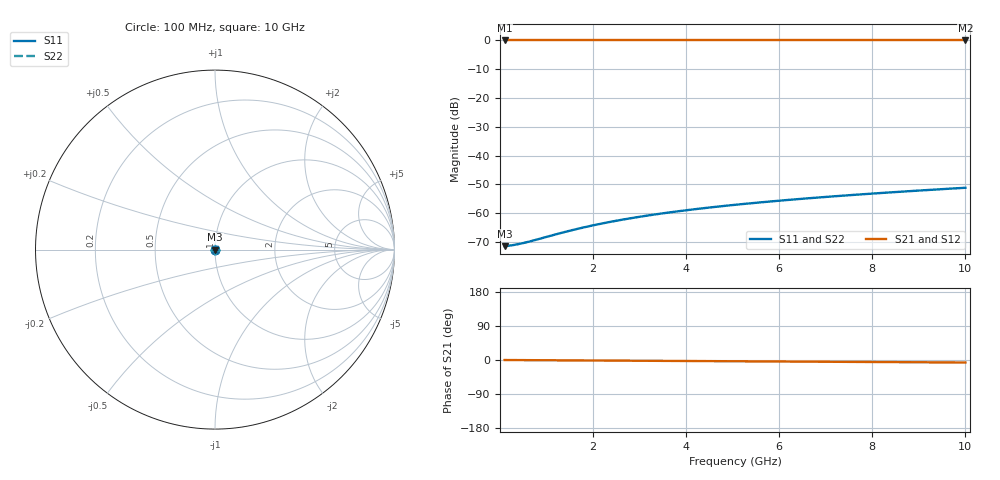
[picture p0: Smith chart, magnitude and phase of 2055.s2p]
# Hz S RI R 50.00
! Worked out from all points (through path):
!   100 points, 100 MHz to 10 GHz, reference 50 ohm
!   highest |S21| = 0.00 dB at 100 MHz (marker M1); lowest = 0.0 dB at 10 GHz (marker M2)
!   lowest |S11| = -71.5 dB at 100 MHz (marker M3), VSWR 1.00, Z = 50 + j0.00275 ohm
!   |S11| at or under -10 dB: start of sweep to end of sweep
!   |S22| runs from -71.5 to -51.2 dB; largest |S21 - S12| = 0
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1e8  0.000265 2.75e-05  0.9997 -0.00115  0.9997 -0.00115  0.000265 2.75e-05
2e8  0.000266 5.5e-05  0.9997 -0.00229  0.9997 -0.00229  0.000266 5.5e-05
3e8  0.000267 8.24e-05  0.9997 -0.00344  0.9997 -0.00344  0.000267 8.24e-05
4e8  0.000268 0.00011  0.9997 -0.00458  0.9997 -0.00458  0.000268 0.00011
5e8  0.000269 0.000137  0.9997 -0.00573  0.9997 -0.00573  0.000269 0.000137
7e8  0.00027 0.000192  0.9997 -0.00802  0.9997 -0.00802  0.00027 0.000192
1.2e9  0.000274 0.000328  0.9996 -0.0138  0.9996 -0.0138  0.000274 0.000328
1.4e9  0.000275 0.000383  0.9996 -0.016  0.9996 -0.016  0.000275 0.000383
1.8e9  0.000279 0.000491  0.9995 -0.0206  0.9995 -0.0206  0.000279 0.000491
2.2e9  0.000284 0.000598  0.9994 -0.0252  0.9994 -0.0252  0.000284 0.000598
2.6e9  0.000289 0.000705  0.9993 -0.0298  0.9993 -0.0298  0.000289 0.000705
3e9  0.000296 0.000811  0.9991 -0.0344  0.9991 -0.0344  0.000296 0.000811
3.4e9  0.000303 0.000917  0.9989 -0.039  0.9989 -0.039  0.000303 0.000917
3.8e9  0.000311 0.00102  0.9987 -0.0436  0.9987 -0.0436  0.000311 0.00102
4.2e9  0.00032 0.00113  0.9985 -0.0482  0.9985 -0.0482  0.00032 0.00113
4.6e9  0.00033 0.00123  0.9983 -0.0528  0.9983 -0.0528  0.00033 0.00123
5.1e9  0.000344 0.00136  0.998 -0.0586  0.998 -0.0586  0.000344 0.00136
5.9e9  0.00037 0.00157  0.9974 -0.0678  0.9974 -0.0678  0.00037 0.00157
6.7e9  0.0004 0.00179  0.9967 -0.0771  0.9967 -0.0771  0.0004 0.00179
7.5e9  0.000434 0.002  0.9959 -0.0863  0.9959 -0.0863  0.000434 0.002
8.4e9  0.000477 0.00224  0.995 -0.0967  0.995 -0.0967  0.000477 0.00224
1e10  0.00057 0.0027  0.993 -0.1153  0.993 -0.1153  0.00057 0.0027
